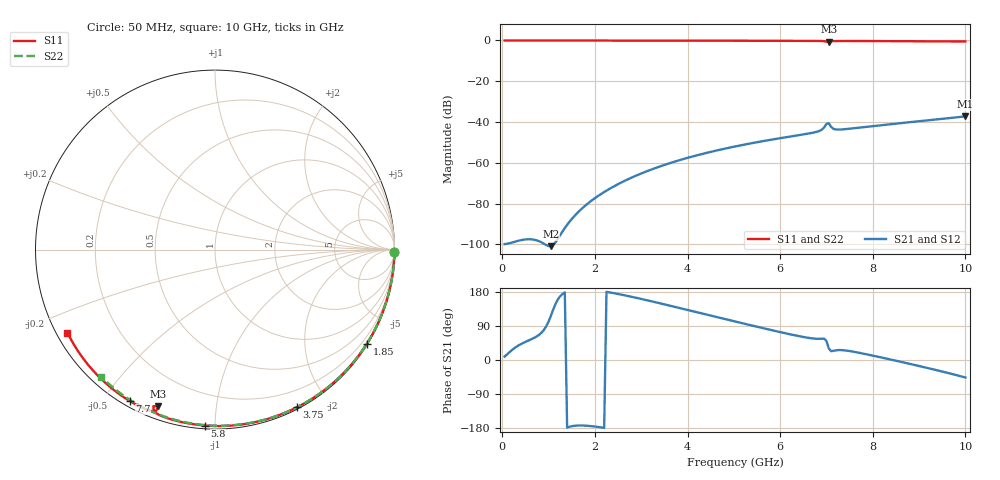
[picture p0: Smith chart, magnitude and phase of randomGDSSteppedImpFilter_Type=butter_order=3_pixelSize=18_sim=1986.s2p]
! freq	dB(S11)	phase(S11)	dB(S12)	phase(S12)
!  dB(S21)	phase(S21)	dB(S22)	phase(S22)
!S-par simulation data
#  GHz  S  DB  R 50
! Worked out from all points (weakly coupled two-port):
!   200 points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, 50 MHz to 10 GHz, reference 50 ohm
!   highest |S21| = -37.25 dB at 10 GHz (marker M1); lowest = -100.9 dB at 1.05 GHz (marker M2)
!   lowest |S11| = -0.7 dB at 7.05 GHz (marker M3), VSWR 26.66, Z = 2.8 - j35 ohm
!   |S11| at or under -10 dB: nowhere
!   |S22| runs from -0.4 to 0.0 dB; largest |S21 - S12| = 0
!   S11 on the Smith chart (normalised r, x): 50 MHz: open; 1.85 GHz: 0.03, -3.52; 3.75 GHz: 0.02, -1.64; 5.8 GHz: 0.02, -0.94; 7.7 GHz: 0.02, -0.58; 10 GHz: 0.03, -0.26
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0.05  -0.00 -0.9  -99.90 9.2  -99.90 9.2  -0.00 -0.8
1.05  -0.02 -18.2  -100.89 116.9  -100.89 116.9  -0.02 -15.9
1.75  -0.04 -30.1  -81.81 -173.0  -81.81 -173.0  -0.03 -26.3
1.85  -0.04 -31.7  -79.91 -173.7  -79.91 -173.7  -0.04 -27.8
2.15  -0.05 -36.7  -75.05 -178.1  -75.05 -178.1  -0.04 -32.2
2.5  -0.05 -42.5  -70.47 174.2  -70.47 174.2  -0.05 -37.3
2.9  -0.06 -49.1  -66.19 163.9  -66.19 163.9  -0.06 -43.0
3.4  -0.08 -57.1  -61.81 149.8  -61.81 149.8  -0.07 -50.1
3.75  -0.09 -62.6  -59.23 139.5  -59.23 139.5  -0.07 -55.0
4.35  -0.10 -71.9  -55.47 121.6  -55.47 121.6  -0.09 -63.2
5.05  -0.13 -82.4  -51.88 100.9  -51.88 100.9  -0.11 -72.5
5.8  -0.16 -93.3  -48.69 79.2  -48.69 79.2  -0.14 -82.2
6.7  -0.22 -106.4  -45.28 56.9  -45.28 56.9  -0.18 -93.4
6.9  -0.28 -109.7  -43.75 56.3  -43.75 56.3  -0.19 -95.8
6.95  -0.35 -110.8  -42.69 56.2  -42.69 56.2  -0.19 -96.4
7  -0.56 -111.5  -40.89 50.0  -40.89 50.0  -0.20 -97.0
7.05  -0.65 -109.9  -40.59 30.6  -40.59 30.6  -0.20 -97.6
7.1  -0.42 -110.0  -42.40 23.3  -42.40 23.3  -0.20 -98.2
7.2  -0.29 -111.9  -43.65 25.7  -43.65 25.7  -0.21 -99.5
7.7  -0.28 -119.4  -42.76 19.2  -42.76 19.2  -0.24 -105.4
8.35  -0.33 -128.3  -41.15 2.2  -41.15 2.2  -0.29 -113.0
10  -0.51 -150.7  -37.25 -46.1  -37.25 -46.1  -0.45 -131.8
